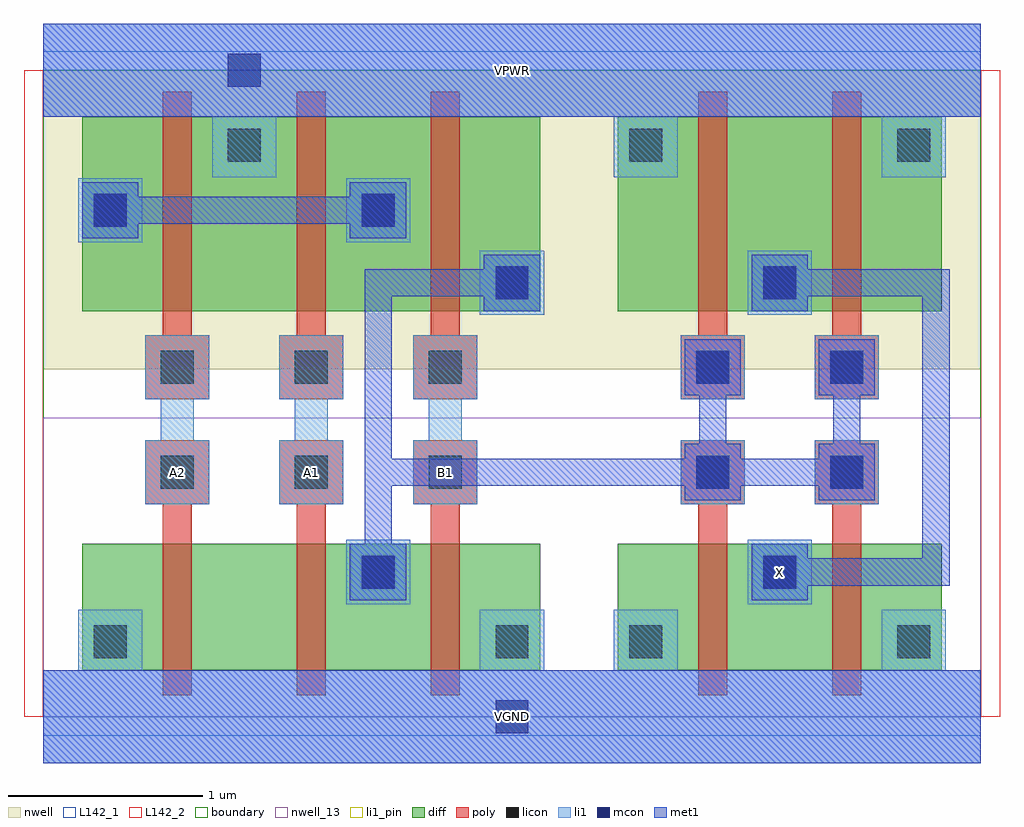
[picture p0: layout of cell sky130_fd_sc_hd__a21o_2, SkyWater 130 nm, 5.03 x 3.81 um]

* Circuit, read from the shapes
.subckt sky130_fd_sc_hd__a21o_2 A1 A2 B1 VGND VPWR X
XM1 n1 A2 VGND VSUBS sky130_fd_pr__nfet_01v8 w=0.65 l=0.15
XM2 n2 A1 n1 VSUBS sky130_fd_pr__nfet_01v8 w=0.65 l=0.15
XM3 VGND B1 n2 VSUBS sky130_fd_pr__nfet_01v8 w=0.65 l=0.15
XM4 X n2 VGND VSUBS sky130_fd_pr__nfet_01v8 w=0.65 l=0.15 m=2
XM5 VPWR A2 n3 n4 sky130_fd_pr__pfet_01v8 w=1 l=0.15
XM6 n3 A1 VPWR n4 sky130_fd_pr__pfet_01v8 w=1 l=0.15
XM7 n2 B1 n3 n4 sky130_fd_pr__pfet_01v8 w=1 l=0.15
XM8 X n2 VPWR n4 sky130_fd_pr__pfet_01v8 w=1 l=0.15 m=2
.ends

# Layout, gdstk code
import gdstk
lib = gdstk.Library(unit=1e-6, precision=1e-09)
def R(c, l, rs):  # rectangles x0, y0, x1, y1
    for r in rs: c.add(gdstk.rectangle(r[:2], r[2:], *l))
def A(c, l, x, y, w, h, nx, ny, dx, dy):  # array of equal rectangles
    R(c, l, [(x+i*dx, y+j*dy, x+i*dx+w, y+j*dy+h) for i in range(nx) for j in range(ny)])
def P(c, l, *ps):  # polygons
    for p in ps: c.add(gdstk.Polygon(p, *l))
nwell_13 = (64, 13)
nwell = (64, 20)
diff = (65, 20)
poly = (66, 20)
licon = (66, 44)
li1_pin = (67, 16)
li1 = (67, 20)
mcon = (67, 44)
met1 = (68, 20)
L142_1 = (142, 1)
L142_2 = (142, 2)
boundary = (235, 4)

sky130_fd_sc_hd__a21o_2 = lib.new_cell('sky130_fd_sc_hd__a21o_2')
R(sky130_fd_sc_hd__a21o_2, nwell_13, [(0,0,4.83,1.54)])
R(sky130_fd_sc_hd__a21o_2, nwell, [(0,1.79,4.83,3.33)])
R(sky130_fd_sc_hd__a21o_2, diff, [(0.2,0.24,2.56,0.89), (0.2,0.24,0.615,0.89), (0.615,0.24,1.305,0.89), (1.305,0.24,1.995,0.89), (1.995,0.24,2.56,0.89), (2.96,0.24,4.63,0.89), (2.96,0.24,3.375,0.89), (3.375,0.24,4.065,0.89), (4.065,0.24,4.63,0.89), (0.2,2.09,2.56,3.09), (0.2,2.09,0.615,3.09), (0.615,2.09,1.305,3.09), (1.305,2.09,1.995,3.09), (1.995,2.09,2.56,3.09), (2.96,2.09,4.63,3.09), (2.96,2.09,3.375,3.09), (3.375,2.09,4.065,3.09), (4.065,2.09,4.63,3.09)])
P(sky130_fd_sc_hd__a21o_2, poly, [(3.375,0.11),(3.375,1.095),(3.285,1.095),(3.285,1.425),(3.615,1.425),(3.615,1.095),(3.525,1.095),(3.525,0.11)],
  [(4.065,0.11),(4.065,1.095),(3.975,1.095),(3.975,1.425),(4.305,1.425),(4.305,1.095),(4.215,1.095),(4.215,0.11)],
  [(3.285,1.635),(3.285,1.965),(3.375,1.965),(3.375,3.22),(3.525,3.22),(3.525,1.965),(3.615,1.965),(3.615,1.635)],
  [(3.975,1.635),(3.975,1.965),(4.065,1.965),(4.065,3.22),(4.215,3.22),(4.215,1.965),(4.305,1.965),(4.305,1.635)],
  [(0.615,0.11),(0.615,1.095),(0.525,1.095),(0.525,1.425),(0.855,1.425),(0.855,1.095),(0.765,1.095),(0.765,0.11)],
  [(0.525,1.635),(0.525,1.965),(0.615,1.965),(0.615,3.22),(0.765,3.22),(0.765,1.965),(0.855,1.965),(0.855,1.635)],
  [(1.305,0.11),(1.305,1.095),(1.215,1.095),(1.215,1.425),(1.545,1.425),(1.545,1.095),(1.455,1.095),(1.455,0.11)],
  [(1.215,1.635),(1.215,1.965),(1.305,1.965),(1.305,3.22),(1.455,3.22),(1.455,1.965),(1.545,1.965),(1.545,1.635)],
  [(1.995,0.11),(1.995,1.095),(1.905,1.095),(1.905,1.425),(2.235,1.425),(2.235,1.095),(2.145,1.095),(2.145,0.11)],
  [(1.905,1.635),(1.905,1.965),(1.995,1.965),(1.995,3.22),(2.145,3.22),(2.145,1.965),(2.235,1.965),(2.235,1.635)])
A(sky130_fd_sc_hd__a21o_2, licon, 0.605, 1.175, 0.17, 0.17, 3, 2, 0.69, 0.54)
R(sky130_fd_sc_hd__a21o_2, licon, [(0.26,0.3,0.43,0.47), (2.33,0.3,2.5,0.47), (3.02,0.3,3.19,0.47), (4.4,0.3,4.57,0.47), (1.64,0.66,1.81,0.83), (3.71,0.66,3.88,0.83), (3.365,1.175,3.535,1.345), (4.055,1.175,4.225,1.345), (3.365,1.715,3.535,1.885), (4.055,1.715,4.225,1.885), (2.33,2.15,2.5,2.32), (3.71,2.15,3.88,2.32), (0.26,2.525,0.43,2.695), (1.64,2.525,1.81,2.695), (0.95,2.86,1.12,3.03), (3.02,2.86,3.19,3.03), (4.4,2.86,4.57,3.03)])
R(sky130_fd_sc_hd__a21o_2, li1_pin, [(0,-0.24,4.83,0.24), (3.63,0.58,3.96,0.91), (0,3.09,4.83,3.57)])
P(sky130_fd_sc_hd__a21o_2, li1_pin, [(1.215,1.095),(1.215,1.425),(1.295,1.425),(1.295,1.635),(1.215,1.635),(1.215,1.965),(1.545,1.965),(1.545,1.635),(1.465,1.635),(1.465,1.425),(1.545,1.425),(1.545,1.095)],
  [(1.905,1.095),(1.905,1.425),(1.985,1.425),(1.985,1.635),(1.905,1.635),(1.905,1.965),(2.235,1.965),(2.235,1.635),(2.155,1.635),(2.155,1.425),(2.235,1.425),(2.235,1.095)],
  [(0.525,1.095),(0.525,1.425),(0.605,1.425),(0.605,1.635),(0.525,1.635),(0.525,1.965),(0.855,1.965),(0.855,1.635),(0.775,1.635),(0.775,1.425),(0.855,1.425),(0.855,1.095)])
R(sky130_fd_sc_hd__a21o_2, li1, [(1.56,0.58,1.89,0.91), (3.63,0.58,3.96,0.91), (3.285,1.095,3.615,1.425), (3.975,1.095,4.305,1.425), (3.285,1.635,3.615,1.965), (3.975,1.635,4.305,1.965), (2.25,2.07,2.58,2.4), (3.63,2.07,3.96,2.4), (0.18,2.445,0.51,2.775), (1.56,2.445,1.89,2.775)])
P(sky130_fd_sc_hd__a21o_2, li1, [(0.525,1.095),(0.525,1.425),(0.605,1.425),(0.605,1.635),(0.525,1.635),(0.525,1.965),(0.855,1.965),(0.855,1.635),(0.775,1.635),(0.775,1.425),(0.855,1.425),(0.855,1.095)],
  [(0.87,2.78),(0.87,3.09),(0,3.09),(0,3.57),(4.83,3.57),(4.83,3.09),(4.65,3.09),(4.65,2.78),(4.32,2.78),(4.32,3.09),(3.27,3.09),(3.27,2.78),(2.94,2.78),(2.94,3.09),(1.2,3.09),(1.2,2.78)],
  [(1.215,1.095),(1.215,1.425),(1.295,1.425),(1.295,1.635),(1.215,1.635),(1.215,1.965),(1.545,1.965),(1.545,1.635),(1.465,1.635),(1.465,1.425),(1.545,1.425),(1.545,1.095)],
  [(0,-0.24),(0,0.24),(0.18,0.24),(0.18,0.55),(0.51,0.55),(0.51,0.24),(2.25,0.24),(2.25,0.55),(2.58,0.55),(2.58,0.24),(2.94,0.24),(2.94,0.55),(3.27,0.55),(3.27,0.24),(4.32,0.24),(4.32,0.55),(4.65,0.55),(4.65,0.24),(4.83,0.24),(4.83,-0.24)],
  [(1.905,1.095),(1.905,1.425),(1.985,1.425),(1.985,1.635),(1.905,1.635),(1.905,1.965),(2.235,1.965),(2.235,1.635),(2.155,1.635),(2.155,1.425),(2.235,1.425),(2.235,1.095)])
R(sky130_fd_sc_hd__a21o_2, mcon, [(2.33,-0.085,2.5,0.085), (1.64,0.66,1.81,0.83), (3.71,0.66,3.88,0.83), (3.365,1.175,3.535,1.345), (4.055,1.175,4.225,1.345), (3.365,1.715,3.535,1.885), (4.055,1.715,4.225,1.885), (2.33,2.15,2.5,2.32), (3.71,2.15,3.88,2.32), (0.26,2.525,0.43,2.695), (1.64,2.525,1.81,2.695), (0.95,3.245,1.12,3.415)])
R(sky130_fd_sc_hd__a21o_2, met1, [(0,-0.24,4.83,0.24), (0,3.09,4.83,3.57)])
P(sky130_fd_sc_hd__a21o_2, met1, [(1.58,0.6),(1.58,0.89),(1.655,0.89),(1.655,2.305),(2.27,2.305),(2.27,2.38),(2.56,2.38),(2.56,2.09),(2.27,2.09),(2.27,2.165),(1.795,2.165),(1.795,1.33),(3.305,1.33),(3.305,1.405),(3.38,1.405),(3.38,1.655),(3.305,1.655),(3.305,1.945),(3.595,1.945),(3.595,1.655),(3.52,1.655),(3.52,1.405),(3.595,1.405),(3.595,1.33),(3.995,1.33),(3.995,1.405),(4.07,1.405),(4.07,1.655),(3.995,1.655),(3.995,1.945),(4.285,1.945),(4.285,1.655),(4.21,1.655),(4.21,1.405),(4.285,1.405),(4.285,1.115),(3.995,1.115),(3.995,1.19),(3.595,1.19),(3.595,1.115),(3.305,1.115),(3.305,1.19),(1.795,1.19),(1.795,0.89),(1.87,0.89),(1.87,0.6)],
  [(0.2,2.465),(0.2,2.755),(0.49,2.755),(0.49,2.68),(1.58,2.68),(1.58,2.755),(1.87,2.755),(1.87,2.465),(1.58,2.465),(1.58,2.54),(0.49,2.54),(0.49,2.465)],
  [(3.65,0.6),(3.65,0.89),(3.94,0.89),(3.94,0.815),(4.53,0.815),(4.53,2.165),(3.94,2.165),(3.94,2.09),(3.65,2.09),(3.65,2.38),(3.94,2.38),(3.94,2.305),(4.67,2.305),(4.67,0.675),(3.94,0.675),(3.94,0.6)])
R(sky130_fd_sc_hd__a21o_2, L142_1, [(0,-0.1,4.83,0), (0,3.33,4.83,3.43)])
R(sky130_fd_sc_hd__a21o_2, L142_2, [(-0.1,0,0,3.33), (4.83,0,4.93,3.33)])
R(sky130_fd_sc_hd__a21o_2, boundary, [(0,0,4.83,3.33)])
sky130_fd_sc_hd__a21o_2.add(gdstk.Label('X', (3.795,0.745), layer=67, texttype=5))
sky130_fd_sc_hd__a21o_2.add(gdstk.Label('A1', (1.38,1.26), layer=67, texttype=5))
sky130_fd_sc_hd__a21o_2.add(gdstk.Label('B1', (2.07,1.26), layer=67, texttype=5))
sky130_fd_sc_hd__a21o_2.add(gdstk.Label('A2', (0.69,1.26), layer=67, texttype=5))
sky130_fd_sc_hd__a21o_2.add(gdstk.Label('VGND', (2.415,0), layer=67, texttype=5))
sky130_fd_sc_hd__a21o_2.add(gdstk.Label('VPWR', (2.415,3.33), layer=67, texttype=5))
sky130_fd_sc_hd__a21o_2.add(gdstk.Label('VGND', (2.415,0), layer=68, texttype=5))
sky130_fd_sc_hd__a21o_2.add(gdstk.Label('VPWR', (2.415,3.33), layer=68, texttype=5))

lib.write_gds('sky130_fd_sc_hd__a21o_2.gds')
